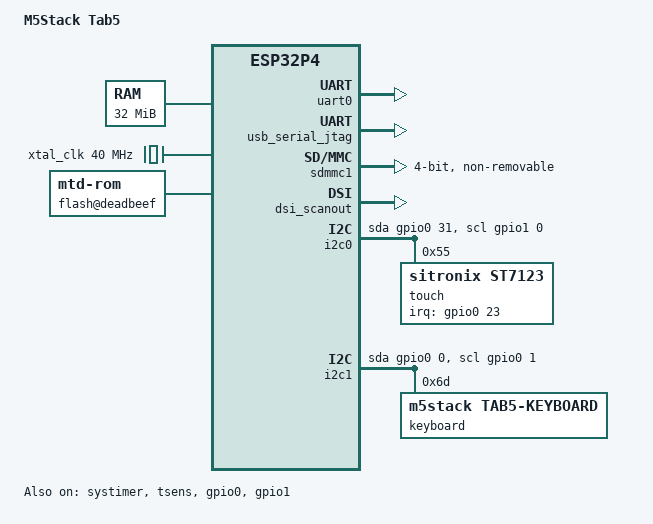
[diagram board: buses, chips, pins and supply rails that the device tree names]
// SPDX-License-Identifier: GPL-2.0-only
/*
 * M5Stack Tab5 — WIP Linux board description (phase-1 port of the Stamp-P4
 * project; see board-contract.json for the measured hardware facts).
 *
 * One HP hart, UART0 fallback, the P4 CLIC/SYSTIMER pair, the read-only
 * flash window populated by the ESP-IDF boot shim, and the SDMMC Slot 1
 * carrying the on-board ESP32-C6 over the GPIO matrix
 * (CLK=12 CMD=13 D0-3={11,10,9,8}; C6 reset = GPIO15; C6 power =
 * IO-expander 0x44 P0, driven by the boot shim).
 *
 * UART0 remains the deterministic fixture fallback (M5-Bus TXD0/RXD0 =
 * GPIO37/38).  The module USB-C USB-Serial/JTAG controller is exposed as
 * ttyGS1 by the board-local ACM driver; it is a device-mode console and
 * never a USB host/VBUS source.
 */
/dts-v1/;

#include <dt-bindings/interrupt-controller/irq.h>
#include <dt-bindings/gpio/gpio.h>

/ {
	#address-cells = <1>;
	#size-cells = <1>;
	model = "M5Stack Tab5";
	compatible = "m5stack,tab5", "espressif,esp32p4";

	cpus {
		#address-cells = <1>;
		#size-cells = <0>;
		timebase-frequency = <16000000>;

		CPU0: cpu@0 {
			device_type = "cpu";
			compatible = "riscv";
			reg = <0>;
			riscv,isa = "rv32imafc";
			mmu-type = "riscv,none";
			status = "okay";

			CPU0_intc: interrupt-controller {
				compatible = "riscv,cpu-intc";
				#interrupt-cells = <1>;
				interrupt-controller;
			};
		};
	};

	memory@48000000 {
		device_type = "memory";
		reg = <0x48000000 0x02000000>;
	};

	xtal_clk: xtal-clock {
		compatible = "fixed-clock";
		#clock-cells = <0>;
		clock-frequency = <40000000>;
		clock-output-names = "xtal";
	};

	aliases {
		serial0 = &uart0;
		serial1 = &usb_serial_jtag;
	};

	chosen {
		/*
		 * Keep early USB-JTAG output during probe, then hand the console
		 * to the board-local ACM driver as ttyGS1, as on the Stamp build.
		 * console=tty0 comes first so ttyGS1 stays /dev/console (the last
		 * console= wins) while kernel messages also reach the panel through
		 * fbcon.  consoleblank=0: the framebuffer has no blank op, so fbcon
		 * would just paint the panel black after 10 minutes and the device
		 * would look dead.  fbcon=font:TER16x32: the 8x16 default makes
		 * 90 x 80 cells on 720x1280, too small to read; the 16x32 font
		 * (45 x 40) must be named because fbcon prefers 8x16 by default.
		 * fbcon=rotate:3 draws the console 90 deg CCW -- the keyboard
		 * dock holds the panel in landscape, so an 80 x 22 cell
		 * console reads upright (the ST712x MADCTL only mirrors; the
		 * 90 deg turn has to be done in fbcon, the panel cannot).
		 */
		bootargs = "earlycon=esp32p4usbjtag,mmio32,0x500d2000 console=tty0 console=ttyGS1,115200n8 loglevel=4 consoleblank=0 fbcon=font:TER16x32 fbcon=rotate:3 root=/dev/mtdblock0 rootfstype=squashfs ro init=/sbin/init maxcpus=1";
	};

	/*
	 * Framebuffer handed over by the boot shim.  "reserved-fb" is not an
	 * upstream status value: the node is inert (not "okay") until the
	 * shim, after a successful DSI bring-up, rewrites the string to
	 * "okay" in place and patches the 0xdfb00000 reg placeholder with
	 * the real PSRAM framebuffer address.  On a display failure the
	 * node stays disabled and Linux boots headless.
	 * espressif,flush-cache marks that the CPU-side console writes need
	 * a dcache writeback before the DW-GDMA reader sees them; consumed
	 * by the optional simplefb patch under linux/tab5/.
	 */
	framebuffer0: framebuffer@dfb0000 {
		compatible = "simple-framebuffer";
		reg = <0x0dfb0000 0x001c2000>;
		width = <720>;
		height = <1280>;
		stride = <1440>;
		format = "r5g6b5";
		espressif,flush-cache;
		/*
		 * RISC-V defaults OF devices to DMA-coherent, and the DMA core
		 * skips dma_sync_* for coherent devices -- without this the
		 * flush-cache writeback is a silent no-op and glyphs reach the
		 * panel only as cache lines happen to be evicted.
		 */
		dma-noncoherent;
		status = "reserved-fb";
	};

	soc: soc {
		#address-cells = <1>;
		#size-cells = <1>;
		compatible = "simple-bus";
		ranges;

		clic0: interrupt-controller@20801000 {
			compatible = "espressif,esp32p4-clic";
			reg = <0x20801000 0x3c0>, <0x500d6000 0x200>,
			      <0x500d6800 0x200>;
			interrupt-controller;
			#interrupt-cells = <3>;
		};

		systimer: timer@500e2000 {
			compatible = "espressif,esp32p4-systimer";
			reg = <0x500e2000 0x100>;
			/*
			 * Target0/source53 services CPU0; target1/source54 is the
			 * independent CPU1 clockevent. The CLIC driver maps both
			 * sources into both INTMTX banks, while the timer driver
			 * enables each parent IRQ only on its owning CPU.
			 */
			interrupts-extended = <&clic0 17 53 IRQ_TYPE_LEVEL_HIGH>,
					      <&clic0 23 54 IRQ_TYPE_LEVEL_HIGH>;
			status = "okay";
		};

		/*
		 * ESP32-P4 LP-TSENS.  The bring-up driver maps the companion
		 * LP_PERI, LP_I2C_ANA_MST, PMU, and eFuse windows because this
		 * vendor tree has no clock/reset/nvmem provider for them yet.
		 * The node is inert unless CONFIG_ESP32P4_TSENS=y is selected.
		 */
		tsens: temperature-sensor@5012f000 {
			compatible = "espressif,esp32p4-tsens";
			reg = <0x5012f000 0x2c>,
			      <0x50120000 0x1000>,
			      <0x50124000 0x40>,
			      <0x50115000 0x200>,
			      <0x5012d000 0x200>;
			reg-names = "tsens", "lpperi", "ana-mst", "pmu", "efuse";
			#thermal-sensor-cells = <0>;
			status = "okay";
		};

		uart0: serial@500ca000 {
			compatible = "esp,esp32p4-uart";
			reg = <0x500ca000 0x1000>;
			interrupts-extended = <&clic0 18 31 IRQ_TYPE_LEVEL_HIGH>;
			clocks = <&xtal_clk>;
			status = "okay";
		};

		/*
		 * P4 USB Serial/JTAG register block.  IDF assigns interrupt source
		 * 22 (ETS_USB_SERIAL_JTAG_INTR_SOURCE); CLIC slot 19 is unused by
		 * this board.  The existing esp32_acm driver uses the same EP1
		 * register layout as P4, with the P4 compatible added by patch 0028.
		 */
		usb_serial_jtag: serial@500d2000 {
			compatible = "espressif,esp32p4-usb-serial-jtag";
			reg = <0x500d2000 0x1000>;
			interrupts-extended = <&clic0 19 22 IRQ_TYPE_LEVEL_HIGH>;
			status = "okay";
		};

		/*
		 * GPIO bank 0 (hw pins 0..31), driven by the espressif,esp32p4-gpio
		 * controller (patch 0002-gpio-esp32p4.patch, reused verbatim from the
		 * WHY2025 reference).  Needed for the touch stack: hw GPIO23 is the
		 * ST712x INT line (a GPIO_INT0 child interrupt) and hw GPIO31 is the
		 * bit-banged SDA below.  Bank 0 also owns the GPIO_INT0 parent line,
		 * so this node doubles as the pin-interrupt controller.
		 *
		 * Exposing bank 0 does not revive the C6-reset hazard the phase-1
		 * notes guarded against: the hazard was never the node itself but a
		 * Linux driver asserting GPIO15 (C6 EN/reset).  Nothing in DT claims
		 * GPIO15, and esp-hosted-ng still runs with resetpin =
		 * HOST_GPIO_PIN_INVALID (its stamp-p4 defaults patch), so no Linux
		 * consumer ever requests that pin; the reset pulse stays shim-owned.
		 * GPIO_INT0 is ETS source 74 (INTMTX map reg +0x128); CLIC slot 26
		 * is free on this board.
		 */
		gpio0: gpio-bank0@500e0000 {
			compatible = "espressif,esp32p4-gpio";
			reg = <0x500e0000 0x1000>;
			espressif,bank-id = <0>;
			gpio-controller;
			#gpio-cells = <2>;
			interrupt-controller;
			#interrupt-cells = <2>;
			interrupts-extended = <&clic0 26 74 IRQ_TYPE_LEVEL_HIGH>;
			status = "okay";
		};

		/* GPIO bank 1 (hw pins 32..56): SCL lives on hw GPIO32. */
		gpio1: gpio-bank1@500e0000 {
			compatible = "espressif,esp32p4-gpio";
			reg = <0x500e0000 0x1000>;
			espressif,bank-id = <1>;
			gpio-controller;
			#gpio-cells = <2>;
			status = "okay";
		};

		/*
		 * Tab5 on-board C6 SDIO.  The P4 controller's Slot 1 uses the
		 * GPIO matrix: CLK=12, CMD=13, DAT0..3={11,10,9,8}.  The boot
		 * shim powers the C6 via IO-expander 0x44 P0, pulses GPIO15,
		 * enables the raw P4 clock/reset and routes these signals before
		 * jumping to Linux; this node describes the already-running bus.
		 * `snps,slot-id` is consumed by the local dw_mmc fix because the
		 * P4 CMD register selects the physical card in bits [20:16].
		 */
		sdmmc_biu_clk: sdmmc-biu-clock {
			compatible = "fixed-clock";
			#clock-cells = <0>;
			clock-frequency = <40000000>;
			clock-output-names = "sdmmc-biu";
		};

		sdmmc_ciu_clk: sdmmc-ciu-clock {
			compatible = "fixed-clock";
			#clock-cells = <0>;
			clock-frequency = <40000000>;
			clock-output-names = "sdmmc-ciu";
		};

		sdmmc1: mmc@50083000 {
			compatible = "snps,dw-mshc";
			reg = <0x50083000 0x1000>;
			interrupts-extended = <&clic0 22 23 IRQ_TYPE_LEVEL_HIGH>;
			clocks = <&sdmmc_biu_clk>, <&sdmmc_ciu_clk>;
			clock-names = "biu", "ciu";
			bus-width = <4>;
			max-frequency = <40000000>;
			clock-frequency = <40000000>;
			non-removable;
			broken-cd;
			disable-wp;
			cap-sdio-irq;
			dma-noncoherent;
			espressif,force-pio;
			/* The P4 FIFO does not pop on CPU reads (#35); patches
			 * 0087/0088 send multi-word PIO transfers through IDMAC
			 * instead.
			 */
			espressif,fifo-no-pop;
			snps,slot-id = <1>;
			status = "okay";
		};

		/* MWDT0 stage-0 system reset; Linux feeds it after probe.
		 * See the Stamp DTS for the 120s reasoning; keep identical. */
		wdt0: watchdog@500c2000 {
			compatible = "espressif,esp32p4-wdt";
			reg = <0x500c2000 0x100>;
			/* CLIC slot 20 is reserved for the C68 CPU1 IPI source 80. */
			interrupts-extended = <&clic0 21 48 IRQ_TYPE_LEVEL_HIGH>;
			timeout-sec = <120>;
		};

		/*
		 * Full-Speed USB OTG (DWC2) is disabled on Tab5: its internal
		 * FSLS PHY is wired to GPIO26/27, which are the board's I2S
		 * audio pins -- there is no connector on this controller.
		 * (The USB-A port sits on the USB2.0 HS controller @0x50000000
		 * with dedicated pads, not modeled yet.)
		 */
		usb_otg11: usb@50040000 {
			compatible = "espressif,esp32p4-otg11", "snps,dwc2";
			reg = <0x50040000 0x10000>;
			interrupts-extended = <&clic0 24 103 IRQ_TYPE_LEVEL_HIGH>;
			dr_mode = "peripheral";
			maximum-speed = "full-speed";
			hnp-disable;
			srp-disable;
			g-rx-fifo-size = <64>;
			g-np-tx-fifo-size = <16>;
			g-tx-fifo-size = <32 20 16 16 16 16>;
			status = "disabled";
		};

		/*
		 * DW-GDMA scanout channel handed over by the boot shim.  The
		 * hardware clears the LLI valid bit in memory on every
		 * block end (there is no free-run -- the channel stalls one
		 * frame after the last re-arm), so a kernel driver re-arms
		 * it in IRQ context, the same contract ESP-IDF's trans-done
		 * callback and upstream dw-axi-dmac cyclic mode implement.
		 * DW-GDMA is ETS interrupt source 24, routed to free CLIC
		 * slot 25; the shim detaches the IDF route before the jump
		 * and the kernel's clic_domain_map installs this one.
		 *
		 * espressif,scanout-lli/-chan are patched by the boot shim
		 * (patch_scanout_node in main.c): the 64-byte link-list
		 * item lives in internal SRAM and is found by content, not
		 * by llp0 (which reads 0 while the channel runs).  The
		 * placeholder values stay when the scan-out never came
		 * up; the driver fails closed on them.
		 */
		dsi_scanout: dsi-scanout@50081000 {
			compatible = "espressif,esp32p4-dsi-scanout";
			reg = <0x50081000 0x600>;
			interrupts-extended = <&clic0 25 24 IRQ_TYPE_LEVEL_HIGH>;
			espressif,scanout-lli = <0x5ca11000>;
			espressif,scanout-chan = <0x5ca12000>;
			status = "okay";
		};

		/* Patched at runtime by boot-shim/main.c with the flash MMU VA. */
		flash@deadbeef {
			compatible = "mtd-rom";
			reg = <0xdeadbeef 0xcafefade>;
			bank-width = <4>;
		};
	};

	/*
	 * Internal I2C bus, bit-banged: this kernel tree has no P4 I2C
	 * controller driver, so i2c-gpio drives the bus the stock
	 * image puts on SDA=GPIO31 (bank 0) / SCL=GPIO32 (bank 1).
	 * The boot shim releases the IDF I2C master and returns both
	 * pads to plain GPIO before the jump (tab5_i2c_release), so
	 * this driver finds clean inputs to toggle.  Direction-toggle
	 * open-drain emulation is used (no *-open-drain props):
	 * Tab5 carries the stock external pull-ups and the P4 pads
	 * are not declared hardware open-drain to gpiolib here.
	 * ~100 kHz like the stock touch transactions.
	 *
	 * Other chips live on this bus (expanders 0x43/0x44, codec,
	 * RTC, fuel gauge) but are intentionally unclaimed: the
	 * expanders are shim-programmed rails (TP_RST stays
	 * released) and the rest is out of scope for v1.  The node
	 * sits at root level: i2c-gpio is a software adapter with no
	 * register window, not an soc unit.
	 */
	i2c0: i2c-gpio {
		compatible = "i2c-gpio";
		#address-cells = <1>;
		#size-cells = <0>;
		gpios = <&gpio0 31 GPIO_ACTIVE_HIGH>,	/* SDA */
			<&gpio1 0 GPIO_ACTIVE_HIGH>;	/* SCL */
		i2c-gpio,delay-us = <5>;
		status = "okay";

		/*
		 * ST7121/ST7123-family touch controller (Sitronix).
		 * INT is open-drain active-low on GPIO23 with the
		 * shim leaving a pull-up; the chip pulses it low per
		 * touch report like the stock NEGEDGE setup.
		 * TP_RST is expander 0x43 P5 -- not modelled; the shim
		 * keeps it released and the driver never resets.
		 */
		touch@55 {
			compatible = "sitronix,st7123";
			reg = <0x55>;
			interrupts-extended =
				<&gpio0 23 IRQ_TYPE_EDGE_FALLING>;
			touchscreen-size-x = <720>;
			touchscreen-size-y = <1280>;
			/* Match fbcon=rotate:3 (CCW): x = ymax - y, y = x. */
			touchscreen-swapped-x-y;
			touchscreen-inverted-x;
			status = "okay";
		};
	};

	/*
	 * Ext.Port1 keyboard bus: the A164 unit is an STM32F030C8T6
	 * matrix scanner at 0x6d on a dedicated hw GPIO0 (SDA) /
	 * GPIO1 (SCL) pair -- a bus of its own, independent of the
	 * internal bus above, so a wedge there cannot strand it.
	 * Its INT is hw GPIO50 on bank 1, which the esp32p4 gpio
	 * driver does not wire to an irq_chip, so the driver polls
	 * the chip FIFO instead of describing the line here.
	 */
	i2c1: i2c-gpio-1 {
		compatible = "i2c-gpio";
		#address-cells = <1>;
		#size-cells = <0>;
		gpios = <&gpio0 0 GPIO_ACTIVE_HIGH>,	/* SDA */
			<&gpio0 1 GPIO_ACTIVE_HIGH>;	/* SCL */
		i2c-gpio,delay-us = <5>;
		status = "okay";

		keyboard@6d {
			compatible = "m5stack,tab5-keyboard";
			reg = <0x6d>;
			/* Both indicator LEDs off (Caps state and mode colour). */
			m5stack,led-brightness = <0>;
			status = "okay";
		};
	};

	reserved-memory {
		#address-cells = <1>;
		#size-cells = <1>;
		ranges;
		/* Kept small until NOMMU pool sizing is measured on the board. */
		boot_partition_res: boot-partition-res@499c0000 {
			reg = <0x499c0000 0x00040000>;
			no-map;
		};

		/* Linux writes this last after staging a new boot image above.
		 * The boot shim consumes and clears the request before loading Linux. */
		boot_update_request_res: boot-update-request@499bf000 {
			reg = <0x499bf000 0x00001000>;
			no-map;
		};

		/* Second pool region: same layout as the Stamp image. */
		linux_nommu_pool_low: nommu-userspace-pool@495af000 {
			compatible = "linux,nommu-userspace-pool";
			reg = <0x495af000 0x00400000>;
		};

		linux_nommu_pool: nommu-userspace-pool@49a00000 {
			compatible = "linux,nommu-userspace-pool";
			reg = <0x49a00000 0x00600000>;
		};

		/*
		 * MIPI-DSI framebuffer reserved for the boot-shim display
		 * stream.  The shim rewrites this reg together with the
		 * framebuffer0 node's; the placeholder reserves only 4 KiB
		 * at a real PSRAM address so a headless boot (no panel) is
		 * unaffected.
		 */
		display_fb_res: framebuffer@49fdf000 {
			reg = <0x49fdf000 0x00001000>;
			no-map;
		};
	};
};
